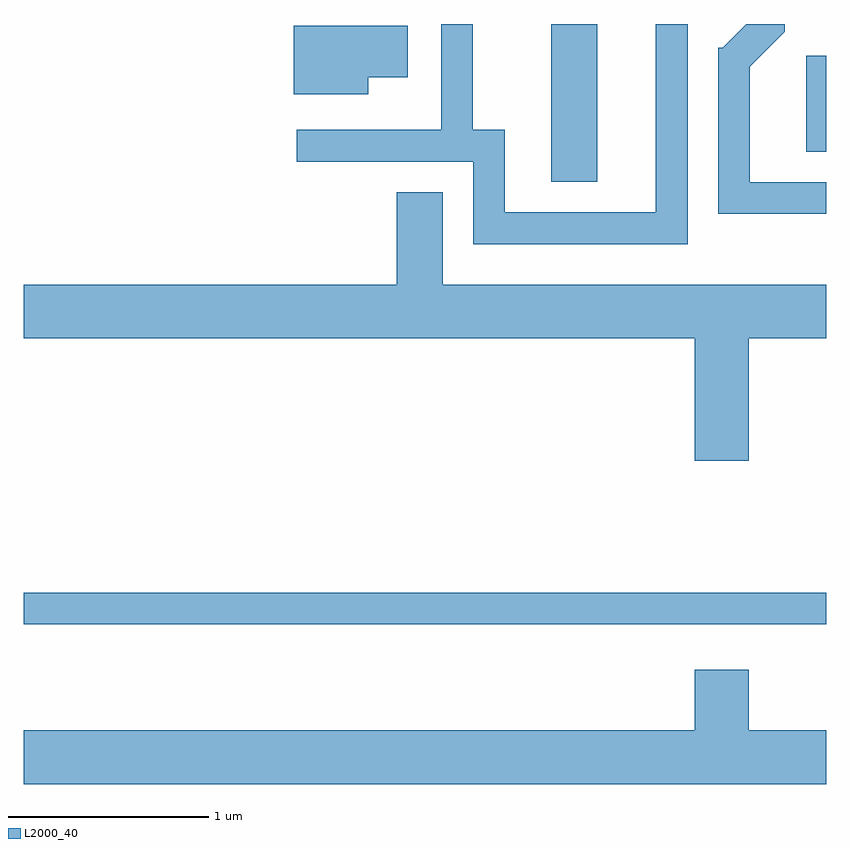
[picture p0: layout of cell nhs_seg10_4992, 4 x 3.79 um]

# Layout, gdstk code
import gdstk
lib = gdstk.Library(unit=1e-6, precision=1e-09)
def R(c, l, rs):  # rectangles x0, y0, x1, y1
    for r in rs: c.add(gdstk.rectangle(r[:2], r[2:], *l))
def P(c, l, *ps):  # polygons
    for p in ps: c.add(gdstk.Polygon(p, *l))
L2000_40 = (2000, 40)

nhs_seg10_4992 = lib.new_cell('nhs_seg10_4992')
R(nhs_seg10_4992, L2000_40, [(331.611,2183.531,335.611,2183.689), (334.241,2185.736,334.469,2186.522), (335.511,2185.886,335.611,2186.364)])
P(nhs_seg10_4992, L2000_40, [(334.919,2186.522),(334.761,2186.522),(334.761,2185.584),(334.009,2185.584),(334.009,2185.994),(333.849,2185.994),(333.849,2186.522),(333.691,2186.522),(333.691,2185.994),(332.973,2185.994),(332.973,2185.836),(333.851,2185.836),(333.851,2185.426),(334.919,2185.426)],
  [(335.611,2185.734),(335.229,2185.734),(335.229,2186.309),(335.404,2186.484),(335.404,2186.522),(335.211,2186.522),(335.094,2186.404),(335.071,2186.404),(335.071,2185.576),(335.611,2185.576)],
  [(333.329,2186.256),(333.524,2186.256),(333.524,2186.514),(332.956,2186.514),(332.956,2186.171),(333.329,2186.171)],
  [(335.224,2184.956),(335.611,2184.956),(335.611,2185.224),(333.699,2185.224),(333.699,2185.684),(333.471,2185.684),(333.471,2185.224),(331.611,2185.224),(331.611,2184.956),(334.956,2184.956),(334.956,2184.346),(335.224,2184.346)],
  [(335.611,2183.004),(335.224,2183.004),(335.224,2183.304),(334.956,2183.304),(334.956,2183.004),(331.611,2183.004),(331.611,2182.736),(335.611,2182.736)])

lib.write_gds('nhs_seg10_4992.gds')
